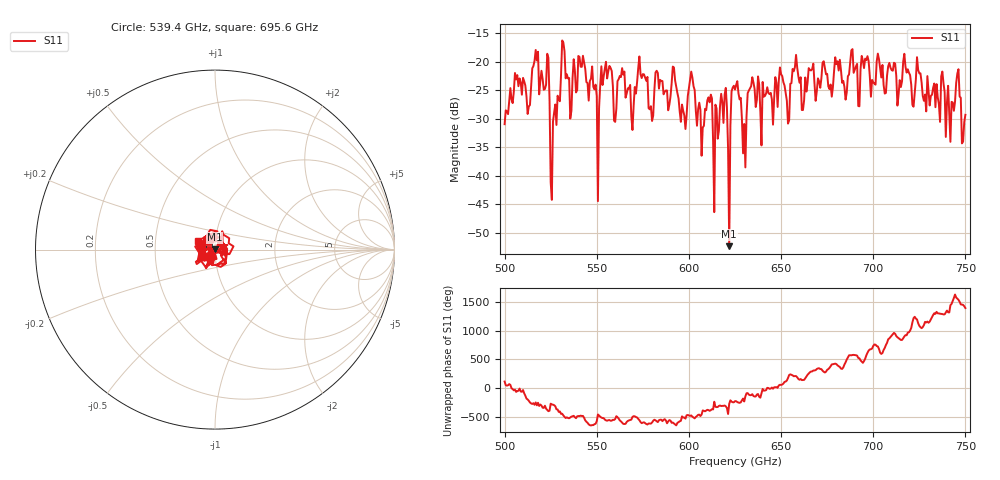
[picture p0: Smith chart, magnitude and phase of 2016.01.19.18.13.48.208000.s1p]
!Created with skrf (http://scikit-rf.org).
# GHz S RI R 50.0
!freq ReS11 ImS11
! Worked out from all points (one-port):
!   401 points, 500 GHz to 750 GHz, reference 50 ohm
!   lowest |S11| = -52.3 dB at 621.9 GHz (marker M1), VSWR 1.00, Z = 50 + j0.24 ohm
!   |S11| at or under -10 dB: start of sweep to end of sweep
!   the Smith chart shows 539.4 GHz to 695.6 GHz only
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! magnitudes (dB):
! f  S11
! 500 GHz  -30.9
! 506.9 GHz  -22.3
! 513.1 GHz  -27.8
! 516.9 GHz  -17.9
! 523.1 GHz  -18.6
! 526.2 GHz  -30.5
! 531.2 GHz  -16.2
! 535.6 GHz  -29.9
! 541.9 GHz  -20.9
! 550 GHz  -26.0
! 553.8 GHz  -22.5
! 560 GHz  -30.5
! 562.5 GHz  -22.5
! 593.8 GHz  -25.5
! 611.2 GHz  -27.1
! 614.4 GHz  -27.5
! 618.8 GHz  -30.7
! 621.9 GHz  -52.3
! 625 GHz  -24.9
! 630 GHz  -30.9
! 633.8 GHz  -24.3
! 653.1 GHz  -26.8
! 656.2 GHz  -21.2
! 687.5 GHz  -20.2
! 718.8 GHz  -21.3
! 740.6 GHz  -24.2
! 746.2 GHz  -21.3
! 750 GHz  -29.3
